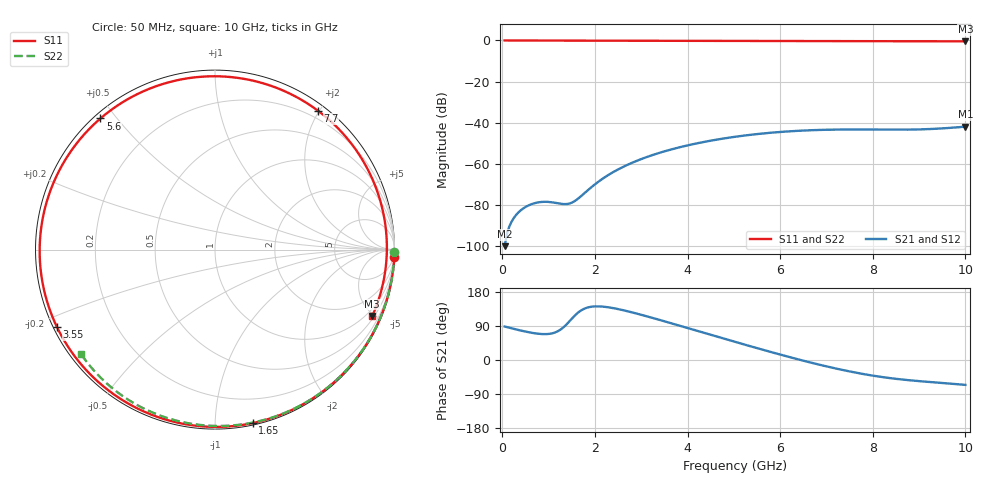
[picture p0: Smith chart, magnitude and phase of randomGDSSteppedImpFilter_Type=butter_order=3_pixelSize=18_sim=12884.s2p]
! freq	dB(S11)	phase(S11)	dB(S12)	phase(S12)
!  dB(S21)	phase(S21)	dB(S22)	phase(S22)
!S-par simulation data
#  GHz  S  DB  R 50
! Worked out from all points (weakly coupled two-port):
!   200 points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, 50 MHz to 10 GHz, reference 50 ohm
!   highest |S21| = -41.85 dB at 10 GHz (marker M1); lowest = -99.9 dB at 50 MHz (marker M2)
!   lowest |S11| = -0.4 dB at 10 GHz (marker M3), VSWR 40.05, Z = 31.2 - j243 ohm
!   |S11| at or under -10 dB: nowhere
!   |S22| runs from -0.5 to 0.0 dB; largest |S21 - S12| = 0
!   S11 on the Smith chart (normalised r, x): 50 MHz: 0, -46; 1.65 GHz: 0.01, -1.24; 3.55 GHz: 0.01, -0.23; 5.6 GHz: 0.02, +0.45; 7.7 GHz: 0.09, +1.98; 10 GHz: 0.62, -4.86
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0.05  -0.00 -2.5  -99.89 88.4  -99.89 88.4  -0.00 -0.8
0.45  -0.03 -22.0  -81.61 76.3  -81.61 76.3  -0.01 -7.4
0.9  -0.06 -43.5  -78.35 68.3  -78.35 68.3  -0.02 -14.7
1.4  -0.08 -66.6  -79.41 95.5  -79.41 95.5  -0.03 -22.8
1.65  -0.09 -77.7  -76.57 126.4  -76.57 126.4  -0.03 -26.7
1.75  -0.10 -82.0  -74.64 134.1  -74.64 134.1  -0.04 -28.3
2.1  -0.11 -97.0  -68.18 141.4  -68.18 141.4  -0.04 -33.9
2.45  -0.13 -111.4  -63.23 135.6  -63.23 135.6  -0.05 -39.3
2.95  -0.15 -131.2  -58.03 121.0  -58.03 121.0  -0.06 -47.1
3.4  -0.17 -148.3  -54.53 105.7  -54.53 105.7  -0.07 -53.9
3.55  -0.17 -153.9  -53.53 100.4  -53.53 100.4  -0.07 -56.1
3.95  -0.19 -168.7  -51.21 86.2  -51.21 86.2  -0.08 -62.1
4.3  -0.20 178.5  -49.52 73.7  -49.52 73.7  -0.09 -67.2
5.05  -0.24 151.2  -46.70 47.1  -46.70 47.1  -0.12 -77.9
5.6  -0.26 131.1  -45.23 27.9  -45.23 27.9  -0.14 -85.5
6.15  -0.29 110.8  -44.19 9.4  -44.19 9.4  -0.16 -93.0
6.7  -0.30 90.4  -43.56 -8.0  -43.56 -8.0  -0.19 -100.3
7.2  -0.32 71.8  -43.28 -22.4  -43.28 -22.4  -0.22 -106.8
7.7  -0.33 53.4  -43.24 -34.9  -43.24 -34.9  -0.26 -113.3
8.35  -0.34 30.2  -43.33 -47.4  -43.33 -47.4  -0.31 -121.5
9.15  -0.37 3.2  -43.09 -57.2  -43.09 -57.2  -0.39 -131.6
10  -0.43 -22.9  -41.85 -65.6  -41.85 -65.6  -0.48 -142.3
